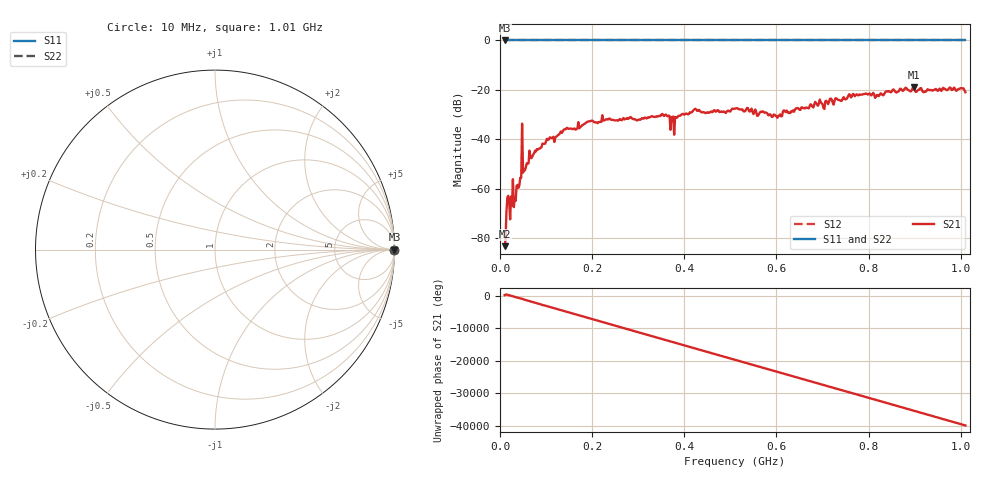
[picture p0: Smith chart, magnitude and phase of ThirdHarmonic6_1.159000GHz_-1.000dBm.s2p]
! 8/16/2025 11:36:17 AM
! C:\ANRITSUVNA\TEMP\TEMP.S2P
! CHANNEL.1
! TR.MEASUREMENT
! RAW.DATA
! RF.CORRECTION.OFF
! AVERAGING.OFF
! IF.BANDWIDTH: 5KHZ
! SWEEPTYPE:  FREQ.SWEEP(Linear)
! Reference Plane Port Info
! PORT:  PORT1  PORT2
! DISTANCE:  0  m  0  m
! TIME:  0  s  0  s
! PHASE.OFFSET:  0  deg.  0  deg.
! LOSS:  0  dB  0  dB
! REF.LOSS:  0  dB  0  dB
! REF.FREQ:  0  Hz  0  Hz
! Power Info
! POWER:  -20  dBm  -20  dBm
! EFF.POWER:  -20  dBm  -20  dBm
! SOURCE.ATTEN:  0  dB  0  dB
! TEST.ATTEN:  0  dB  0  dB
# GHZ S RI R 50.0
! FREQ.GHZ  S11RE  S11IM  S21RE  S21IM  S12RE  S12IM  S22RE  S22IM
!; PortSelection: Port_12
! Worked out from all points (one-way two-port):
!   501 points, 10 MHz to 1.01 GHz, reference 50 ohm
!   highest |S21| = -18.84 dB at 898 MHz (marker M1); lowest = -83.1 dB at 10 MHz (marker M2)
!   lowest |S11| = 0.0 dB at 10 MHz (marker M3)
!   |S11| at or under -10 dB: nowhere
!   |S22| runs from 0.0 to 0.0 dB; largest |S21 - S12| = 1.1
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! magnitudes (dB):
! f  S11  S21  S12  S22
! 10 MHz  0.0  -83.1  0.0  0.0
! 18 MHz  0.0  -62.7  0.0  0.0
! 34 MHz  0.0  -64.9  0.0  0.0
! 42 MHz  0.0  -58.6  0.0  0.0
! 44 MHz  0.0  -55.4  0.0  0.0
! 52 MHz  0.0  -51.9  0.0  0.0
! 54 MHz  0.0  -52.5  0.0  0.0
! 68 MHz  0.0  -47.6  0.0  0.0
! 106 MHz  0.0  -40.0  0.0  0.0
! 178 MHz  0.0  -34.3  0.0  0.0
! 226 MHz  0.0  -32.4  0.0  0.0
! 344 MHz  0.0  -30.6  0.0  0.0
! 364 MHz  0.0  -30.6  0.0  0.0
! 374 MHz  0.0  -31.0  0.0  0.0
! 384 MHz  0.0  -31.3  0.0  0.0
! 422 MHz  0.0  -27.8  0.0  0.0
! 510 MHz  0.0  -27.6  0.0  0.0
! 602 MHz  0.0  -31.2  0.0  0.0
! 678 MHz  0.0  -26.8  0.0  0.0
! 844 MHz  0.0  -20.5  0.0  0.0
! 898 MHz  0.0  -18.8  0.0  0.0
! 1.01 GHz  0.0  -20.9  0.0  0.0
